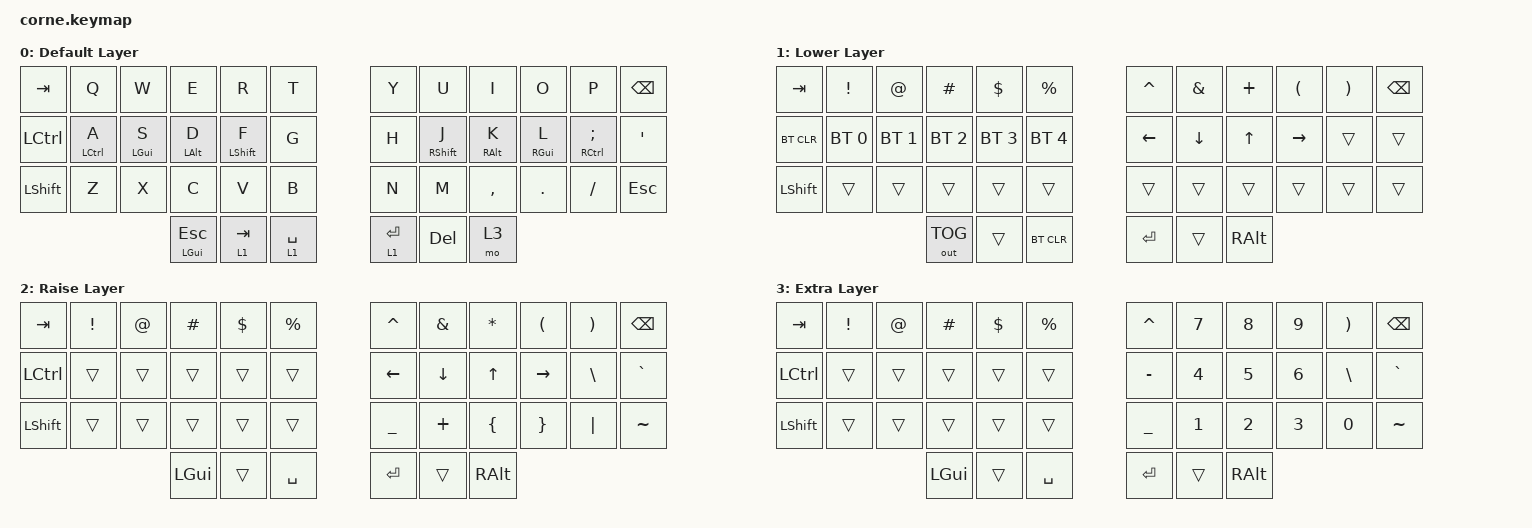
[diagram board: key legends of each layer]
/*
 * Copyright (c) 2020 The ZMK Contributors
 *
 * SPDX-License-Identifier: MIT
 */

#include <behaviors.dtsi>
#include <dt-bindings/zmk/keys.h>
#include <dt-bindings/zmk/bt.h>
#include <dt-bindings/zmk/outputs.h>

/ {
        keymap {
                compatible = "zmk,keymap";

                default_layer {
                        display-name = "Default Layer";
// -----------------------------------------------------------------------------------------
// |  TAB |  Q  |  W  |  E  |  R  |  T  |   |  Y  |  U   |  I  |  O  |  P  | BSPC |
// | CTRL |  A  |  S  |  D  |  F  |  G  |   |  H  |  J   |  K  |  L  |  ;  |  '   |
// | SHFT |  Z  |  X  |  C  |  V  |  B  |   |  N  |  M   |  ,  |  .  |  /  | ESC  |
//                    | GUI | LWR | SPC |   | ENT | RSE  | ALT |
                        bindings = <
   &kp TAB   &kp Q       &kp W      &kp E         &kp R        &kp T         &kp Y   &kp U        &kp I          &kp O        &kp P          &kp BSPC
   &kp LCTRL &mt LCTRL A &mt LGUI S &mt LALT D    &mt LSHIFT F &kp G         &kp H   &mt RSHFT J  &mt RALT K     &mt RGUI L   &mt RCTRL SEMI &kp SQT
   &kp LSHFT &kp Z       &kp X      &kp C         &kp V        &kp B         &kp N   &kp M        &kp COMMA      &kp DOT      &kp FSLH       &kp ESC
                                    &mt LGUI ESC  &lt 1 TAB    &lt 1 SPACE   &lt 1 RET &kp DEL    &mo 3    
                        >;
                };
                lower_layer {
                        display-name = "Lower Layer";
// -----------------------------------------------------------------------------------------
// |  TAB |  1  |  2  |  3  |  4  |  5  |   |  6  |  7  |  8  |  9  |  0  | BSPC |
// | BTCLR| BT1 | BT2 | BT3 | BT4 | BT5 |   | LFT | DWN |  UP | RGT |     |      |
// | SHFT |     |     |     |     |     |   |     |     |     |     |     |      |
//                    | GUI |     | SPC |   | ENT |     | ALT |
                        bindings = <
   &kp TAB    &kp EXCL     &kp AT       &kp HASH     &kp DLLR     &kp PRCNT      &kp CARET &kp AMPS &kp PLUS &kp LPAR  &kp RPAR &kp BSPC
   &bt BT_CLR &bt BT_SEL 0 &bt BT_SEL 1 &bt BT_SEL 2 &bt BT_SEL 3 &bt BT_SEL 4   &kp LEFT  &kp DOWN &kp UP   &kp RIGHT &trans   &trans
   &kp LSHFT  &trans       &trans       &trans       &trans       &trans         &trans    &trans   &trans   &trans    &trans   &trans
                                        &out OUT_TOG &trans       &bt BT_CLR     &kp RET   &trans   &kp RALT
                        >;
                };

                raise_layer {
                        display-name = "Raise Layer";
// -----------------------------------------------------------------------------------------
// |  TAB |  !  |  @  |  #  |  $  |  %  |   |  ^  |  &  |  *  |  (  |  )  | BSPC |
// | CTRL |     |     |     |     |     |   |  -  |  =  |  [  |  ]  |  \  |  `   |
// | SHFT |     |     |     |     |     |   |  _  |  +  |  {  |  }  | "|" |  ~   |
//                    | GUI |     | SPC |   | ENT |     | ALT |
                        bindings = <
   &kp  TAB  &kp EXCL &kp AT &kp HASH &kp DLLR &kp PRCNT   &kp CARET &kp AMPS  &kp ASTRK &kp LPAR  &kp RPAR &kp BSPC
   &kp LCTRL &trans   &trans &trans   &trans   &trans      &kp LEFT  &kp DOWN  &kp UP    &kp RIGHT &kp BSLH &kp GRAVE
   &kp LSHFT &trans   &trans &trans   &trans   &trans      &kp UNDER &kp PLUS  &kp LBRC  &kp RBRC  &kp PIPE &kp TILDE
                             &kp LGUI &trans   &kp SPACE   &kp RET   &trans    &kp RALT
                        >;
                };

                extra_layer {
                        display-name = "Extra Layer";
// -----------------------------------------------------------------------------------------
// |  TAB |  !  |  @  |  #  |  $  |  %  |   |  ^  |  &  |  *  |  (  |  )  | BSPC |
// | CTRL |     |     |     |     |     |   |  -  |  =  |  [  |  ]  |  \  |  `   |
// | SHFT |     |     |     |     |     |   |  _  |  +  |  {  |  }  | "|" |  ~   |
//                    | GUI |     | SPC |   | ENT |     | ALT |
                        bindings = <
   &kp  TAB  &kp EXCL &kp AT &kp HASH &kp DLLR &kp PRCNT   &kp CARET &kp N7  &kp N8  &kp N9 &kp RPAR &kp BSPC
   &kp LCTRL &trans   &trans &trans   &trans   &trans      &kp MINUS &kp N4 &kp N5  &kp N6 &kp BSLH &kp GRAVE
   &kp LSHFT &trans   &trans &trans   &trans   &trans      &kp UNDER &kp N1  &kp N2  &kp N3 &kp N0 &kp TILDE
                             &kp LGUI &trans   &kp SPACE   &kp RET   &trans    &kp RALT
                        >;
                };
        };
};
